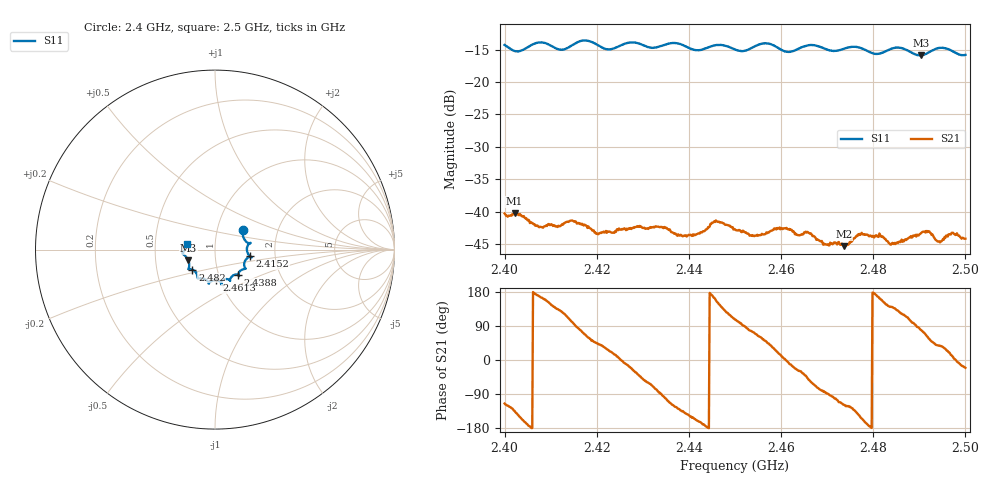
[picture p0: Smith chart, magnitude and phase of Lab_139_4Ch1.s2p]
# Hz S RI R 50
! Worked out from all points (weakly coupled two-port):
!   601 points, 2.4 GHz to 2.5 GHz, reference 50 ohm
!   highest |S21| = -40.26 dB at 2.4022 GHz (marker M1); lowest = -45.3 dB at 2.4737 GHz (marker M2)
!   lowest |S11| = -15.9 dB at 2.4903 GHz (marker M3), VSWR 1.38, Z = 36.8 - j4.45 ohm
!   |S11| at or under -10 dB: start of sweep to end of sweep
!   S12 and S22 are empty: the file has one direction only
!   S11 on the Smith chart (normalised r, x): 2.4 GHz: 1.33, +0.31; 2.4152 GHz: 1.47, -0.11; 2.4388 GHz: 1.24, -0.36; 2.4613 GHz: 0.96, -0.34; 2.482 GHz: 0.76, -0.17; 2.5 GHz: 0.72, +0.05
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2.4e9  0.158 0.1114  -0.00408 -0.00879  0 0  0 0
2.402167e9  0.1562 0.0758  -0.00677 -0.00696  0 0  0 0
2.407833e9  0.1986 0.0372  -0.00738 0.00193  0 0  0 0
2.412167e9  0.1776 0.00386  -0.00492 0.00607  0 0  0 0
2.415167e9  0.1935 -0.0372  -0.00044 0.00836  0 0  0 0
2.416667e9  0.2035 -0.0433  0.00184 0.00775  0 0  0 0
2.420333e9  0.1868 -0.043  0.00502 0.00446  0 0  0 0
2.433333e9  0.1323 -0.1319  0.0009 -0.00763  0 0  0 0
2.438833e9  0.1298 -0.1412  -0.00473 -0.00448  0 0  0 0
2.446e9  0.0836 -0.1741  -0.00766 0.00362  0 0  0 0
2.45e9  0.0688 -0.1647  -0.00207 0.00703  0 0  0 0
2.456833e9  0.038 -0.1952  0.00463 0.00517  0 0  0 0
2.461333e9  0.00776 -0.1707  0.00739 -0.000487  0 0  0 0
2.466667e9  -0.0346 -0.19  0.00331 -0.00576  0 0  0 0
2.473667e9  -0.0843 -0.1598  -0.00258 -0.00478  0 0  0 0
2.477167e9  -0.0967 -0.1564  -0.00575 -0.00329  0 0  0 0
2.482e9  -0.1259 -0.1117  -0.00589 0.00267  0 0  0 0
2.483333e9  -0.1398 -0.1089  -0.00455 0.00352  0 0  0 0
2.490333e9  -0.1493 -0.0589  0.00126 0.00671  0 0  0 0
2.494833e9  -0.1828 -0.0202  0.00478 0.0035  0 0  0 0
2.496833e9  -0.1755 -0.0126  0.00649 0.00156  0 0  0 0
2.5e9  -0.1587 0.0327  0.0058 -0.00218  0 0  0 0
